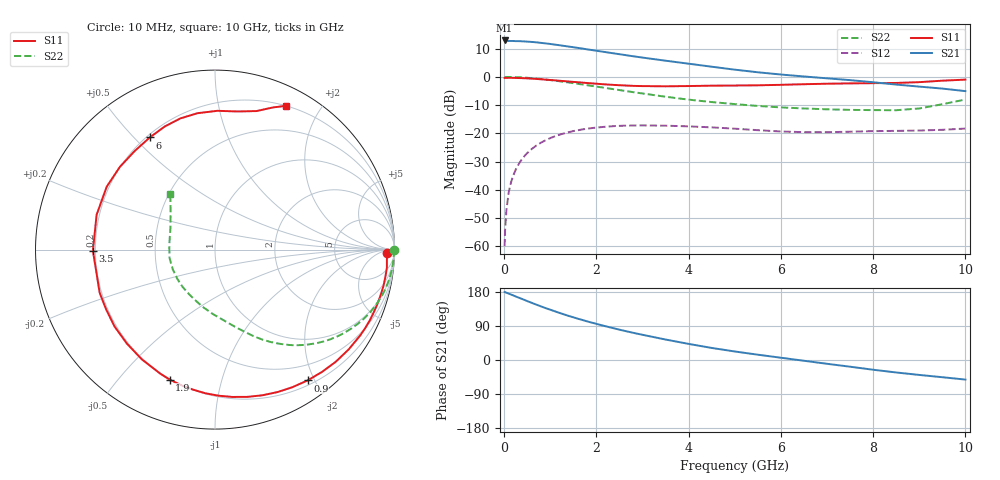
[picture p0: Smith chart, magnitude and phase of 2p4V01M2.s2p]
! (c) 2009  Infineon Technologies AG, Munich
! Infineon Technologies  Discrete & RF Semiconductors
! BFP420
! VCE =  4.0 V,  IC =  1.2 mA
! Common Emitter S-Parameters:  Nov 2009
# GHz  S  MA  R  50
!  f  S11  S21  S12  S22
! GHz  MAG  ANG  MAG  ANG  MAG  ANG  MAG  ANG
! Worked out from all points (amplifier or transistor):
!   46 points, 10 MHz to 10 GHz, reference 50 ohm
!   highest |S21| = 12.9 dB at 10 MHz (marker M1)
!   |S21| within 3 dB of that: start of sweep to 1.743 GHz
!   unconditionally stable (mu >= 1): 4.305 GHz to end of sweep
!   at 300 MHz: K = 0.04, MSG = 22.0 dB, |S12| = -31.3 dB
!   at 1.7 GHz: K = 0.27, MSG = 14.3 dB, |S12| = -18.6 dB
!   at 10 GHz: K = 1.32, MAG = 3.2 dB, |S12| = -18.3 dB
!   lowest NFmin = 0.53 dB at 900 MHz
!   S11 on the Smith chart (normalised r, x): 10 MHz: 39, -18; 900 MHz: 0.26, -1.90; 1.9 GHz: 0.20, -0.69; 3.5 GHz: 0.19, -0.00; 6 GHz: 0.21, +0.56; 10 GHz: 0.20, +1.59
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0.01  0.9589 -1.1  4.416 179.3  0.001 78.6  0.9966 0.0
0.02  0.9612 -1.2  4.268 179.3  0.0019 73.2  0.9959 -0.6
0.05  0.9591 -2.9  4.296 177.5  0.0044 85.7  0.9965 -1.5
0.1  0.9629 -6.1  4.323 175.2  0.0091 84.5  0.9958 -3.2
0.2  0.9602 -12.2  4.321 170.3  0.0181 82.1  0.9914 -6.4
0.35  0.9511 -21.5  4.287 162.9  0.0316 77.1  0.9801 -11.2
0.6  0.9295 -36.7  4.155 150.7  0.0528 68.2  0.9489 -18.9
0.9  0.893 -54.7  3.914 136.9  0.0754 57.9  0.8965 -27.5
1.1  0.8671 -66.2  3.729 128.5  0.0884 51.5  0.8565 -32.8
1.3  0.8403 -77.5  3.535 120.3  0.0997 45.4  0.8146 -37.8
1.7  0.7897 -99.0  3.169 105.5  0.1173 34.2  0.7316 -46.5
1.9  0.7671 -109.2  2.988 98.6  0.1236 29.1  0.6916 -50.4
2.2  0.735 -123.6  2.743 89.0  0.1308 22.1  0.636 -55.6
2.6  0.7048 -142.5  2.451 77.2  0.1365 13.4  0.5668 -62.2
3  0.6862 -159.5  2.196 66.5  0.138 6.1  0.5075 -68.0
3.5  0.6802 -179.5  1.933 54.0  0.1364 -1.8  0.4442 -75.5
4.5  0.6978 149.8  1.513 31.8  0.1273 -13.1  0.3577 -92.3
5.5  0.7084 129.2  1.206 14.0  0.1136 -19.1  0.3052 -110.2
6  0.7227 120.2  1.1 6.0  0.1077 -19.6  0.2876 -120.1
7  0.7559 104.8  0.942 -10.0  0.1046 -18.2  0.266 -142.0
8.5  0.78 80.6  0.73 -32.9  0.1104 -19.5  0.2564 173.2
10  0.8938 63.7  0.559 -51.7  0.1213 -19.6  0.3966 128.9
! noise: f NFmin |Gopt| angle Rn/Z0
0.9  0.53  0.62  33  0.31
1.8  1.1  0.4  77  0.24
2.4  1.23  0.41  100  0.2
3  1.51  0.41  132  0.14
4  1.8  0.44  -175  0.09
5  2.23  0.45  -132  0.38
6  3.18  0.57  -116  0.44
